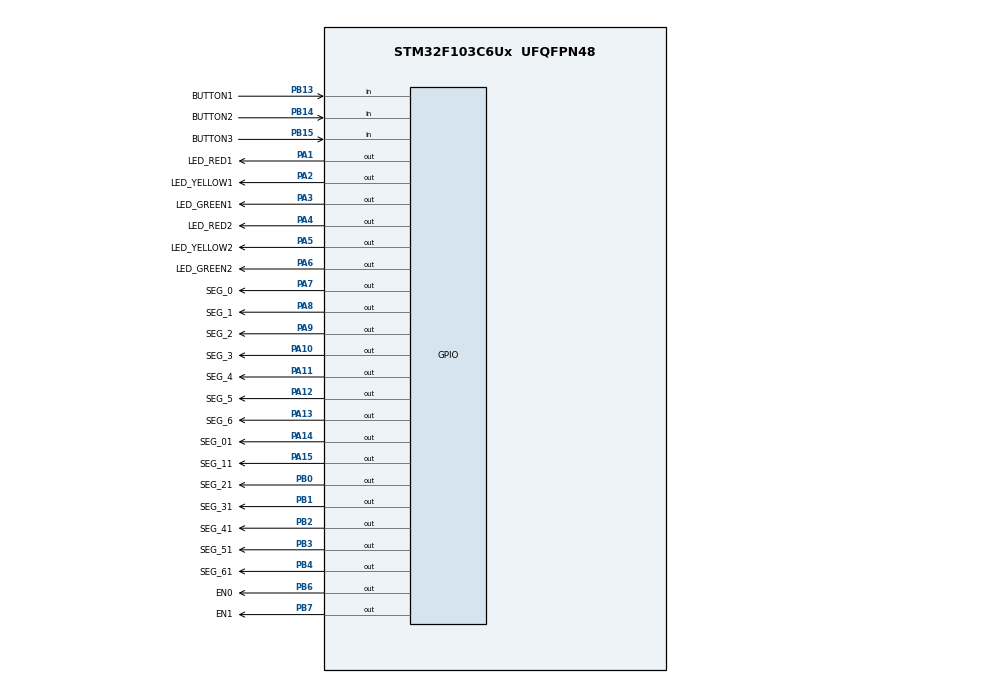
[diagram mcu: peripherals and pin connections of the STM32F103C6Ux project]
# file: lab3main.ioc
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Mcu.Family=STM32F1
Mcu.Name=STM32F103C6Ux
Mcu.Package=UFQFPN48
NVIC.PriorityGroup=NVIC_PRIORITYGROUP_4
NVIC.TIM2_IRQn=true\:0\:0\:false\:false\:true\:true\:true
PA1.GPIO_Label=LED_RED1
PA1.Signal=GPIO_Output
PA10.GPIO_Label=SEG_3
PA10.Signal=GPIO_Output
PA11.GPIO_Label=SEG_4
PA11.Signal=GPIO_Output
PA12.GPIO_Label=SEG_5
PA12.Signal=GPIO_Output
PA13.GPIO_Label=SEG_6
PA13.Signal=GPIO_Output
PA14.GPIO_Label=SEG_01
PA14.Signal=GPIO_Output
PA15.GPIO_Label=SEG_11
PA15.Signal=GPIO_Output
PA2.GPIO_Label=LED_YELLOW1
PA2.Signal=GPIO_Output
PA3.GPIO_Label=LED_GREEN1
PA3.Signal=GPIO_Output
PA4.GPIO_Label=LED_RED2
PA4.Signal=GPIO_Output
PA5.GPIO_Label=LED_YELLOW2
PA5.Signal=GPIO_Output
PA6.GPIO_Label=LED_GREEN2
PA6.Signal=GPIO_Output
PA7.GPIO_Label=SEG_0
PA7.Signal=GPIO_Output
PA8.GPIO_Label=SEG_1
PA8.Signal=GPIO_Output
PA9.GPIO_Label=SEG_2
PA9.Signal=GPIO_Output
PB0.GPIO_Label=SEG_21
PB0.Signal=GPIO_Output
PB1.GPIO_Label=SEG_31
PB1.Signal=GPIO_Output
PB13.GPIO_Label=BUTTON1
PB13.GPIO_PuPd=GPIO_PULLUP
PB13.Signal=GPIO_Input
PB14.GPIO_Label=BUTTON2
PB14.GPIO_PuPd=GPIO_PULLUP
PB14.Signal=GPIO_Input
PB15.GPIO_Label=BUTTON3
PB15.GPIO_PuPd=GPIO_PULLUP
PB15.Signal=GPIO_Input
PB2.GPIO_Label=SEG_41
PB2.Signal=GPIO_Output
PB3.GPIO_Label=SEG_51
PB3.Signal=GPIO_Output
PB4.GPIO_Label=SEG_61
PB4.Signal=GPIO_Output
PB6.GPIO_Label=EN0
PB6.Signal=GPIO_Output
PB7.GPIO_Label=EN1
PB7.Signal=GPIO_Output
ProjectManager.HeapSize=0x200
ProjectManager.StackSize=0x400
ProjectManager.TargetToolchain=STM32CubeIDE
RCC.APB1Freq_Value=8000000
RCC.APB2Freq_Value=8000000
TIM2.Period=9
TIM2.Prescaler=7999
VP_SYS_VS_ND.Mode=No_Debug
VP_TIM2_VS_ClockSourceINT.Mode=Internal
board=custom

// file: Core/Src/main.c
/* USER CODE BEGIN Header */
/**
  ******************************************************************************
  * @file           : main.c
  * @brief          : Main program body
  ******************************************************************************
  * @attention
  *
  * <h2><center>&copy; Copyright (c) 2024 STMicroelectronics.
  * All rights reserved.</center></h2>
  *
  * This software component is licensed by ST under BSD 3-Clause license,
  * the "License"; You may not use this file except in compliance with the
  * License. You may obtain a copy of the License at:
  *                        opensource.org/licenses/BSD-3-Clause
  *
  ******************************************************************************
  */
/* USER CODE END Header */
#include "main.h"

/* USER CODE BEGIN Includes */
#include "softwareTimer.h"
#include "button.h"
#include "traffic_light.h"
#include "global.h"
#include "fsm_auto.h"
#include "fsm_setting.h"
#include "display_traffic7seg.h"
#include "scheduler.h"
/* USER CODE END Includes */

TIM_HandleTypeDef htim2;

void SystemClock_Config(void);
static void MX_TIM2_Init(void);
static void MX_GPIO_Init(void);

int main(void)
{

  /* MCU Configuration--------------------------------------------------------*/

  /* Reset of all peripherals, Initializes the Flash interface and the Systick. */
  HAL_Init();

  /* Configure the system clock */
  SystemClock_Config();

  /* Initialize all configured peripherals */
  MX_TIM2_Init();
  MX_GPIO_Init();
  /* USER CODE BEGIN 2 */
  HAL_TIM_Base_Start_IT (&htim2) ;
  /* USER CODE END 2 */

  /* Infinite loop */
  /* USER CODE BEGIN WHILE */
  setTimer(3, 500); // For 7seg display
  setTimer(4, 500); // For mode 2, 3 and 4

  SCH_Init();
  SCH_Add_Task(getMode, 0, 1);
  SCH_Add_Task(fsmAuto, 1, 1);
  SCH_Add_Task(fsmSetting, 2, 1);

  while (1)
  {

   SCH_Dispatch_Task();

   //getMode();

   //fsmAuto();

   //fsmSetting();

    }
    /* USER CODE END WHILE */

}

void SystemClock_Config(void)
{
  RCC_OscInitTypeDef RCC_OscInitStruct = {0};
  RCC_ClkInitTypeDef RCC_ClkInitStruct = {0};

  /** Initializes the RCC Oscillators according to the specified parameters
  * in the RCC_OscInitTypeDef structure.
  */
  RCC_OscInitStruct.OscillatorType = RCC_OSCILLATORTYPE_HSI;
  RCC_OscInitStruct.HSIState = RCC_HSI_ON;
  RCC_OscInitStruct.HSICalibrationValue = RCC_HSICALIBRATION_DEFAULT;
  RCC_OscInitStruct.PLL.PLLState = RCC_PLL_NONE;
  if (HAL_RCC_OscConfig(&RCC_OscInitStruct) != HAL_OK)
  {
    Error_Handler();
  }
  /** Initializes the CPU, AHB and APB buses clocks
  */
  RCC_ClkInitStruct.ClockType = RCC_CLOCKTYPE_HCLK|RCC_CLOCKTYPE_SYSCLK
                              |RCC_CLOCKTYPE_PCLK1|RCC_CLOCKTYPE_PCLK2;
  RCC_ClkInitStruct.SYSCLKSource = RCC_SYSCLKSOURCE_HSI;
  RCC_ClkInitStruct.AHBCLKDivider = RCC_SYSCLK_DIV1;
  RCC_ClkInitStruct.APB1CLKDivider = RCC_HCLK_DIV1;
  RCC_ClkInitStruct.APB2CLKDivider = RCC_HCLK_DIV1;

  if (HAL_RCC_ClockConfig(&RCC_ClkInitStruct, FLASH_LATENCY_0) != HAL_OK)
  {
    Error_Handler();
  }
}

static void MX_TIM2_Init(void)
{

  TIM_ClockConfigTypeDef sClockSourceConfig = {0};
  TIM_MasterConfigTypeDef sMasterConfig = {0};

  htim2.Instance = TIM2;
  htim2.Init.Prescaler = 7999;
  htim2.Init.CounterMode = TIM_COUNTERMODE_UP;
  htim2.Init.Period = 9;
  htim2.Init.ClockDivision = TIM_CLOCKDIVISION_DIV1;
  htim2.Init.AutoReloadPreload = TIM_AUTORELOAD_PRELOAD_DISABLE;
  if (HAL_TIM_Base_Init(&htim2) != HAL_OK)
  {
    Error_Handler();
  }
  sClockSourceConfig.ClockSource = TIM_CLOCKSOURCE_INTERNAL;
  if (HAL_TIM_ConfigClockSource(&htim2, &sClockSourceConfig) != HAL_OK)
  {
    Error_Handler();
  }
  sMasterConfig.MasterOutputTrigger = TIM_TRGO_RESET;
  sMasterConfig.MasterSlaveMode = TIM_MASTERSLAVEMODE_DISABLE;
  if (HAL_TIMEx_MasterConfigSynchronization(&htim2, &sMasterConfig) != HAL_OK)
  {
    Error_Handler();
  }

}

static void MX_GPIO_Init(void)
{
  GPIO_InitTypeDef GPIO_InitStruct = {0};

  /* GPIO Ports Clock Enable */
  __HAL_RCC_GPIOA_CLK_ENABLE();
  __HAL_RCC_GPIOB_CLK_ENABLE();

  /*Configure GPIO pin Output Level */
  HAL_GPIO_WritePin(GPIOA, LED_RED1_Pin|LED_YELLOW1_Pin|LED_GREEN1_Pin|LED_RED2_Pin
                          |LED_YELLOW2_Pin|LED_GREEN2_Pin|SEG_0_Pin|SEG_1_Pin
                          |SEG_2_Pin|SEG_3_Pin|SEG_4_Pin|SEG_5_Pin
                          |SEG_6_Pin|SEG_01_Pin|SEG_11_Pin, GPIO_PIN_RESET);

  /*Configure GPIO pin Output Level */
  HAL_GPIO_WritePin(GPIOB, SEG_21_Pin|SEG_31_Pin|SEG_41_Pin|SEG_51_Pin
                          |SEG_61_Pin|EN0_Pin|EN1_Pin, GPIO_PIN_RESET);

  /*Configure GPIO pins : LED_RED1_Pin LED_YELLOW1_Pin LED_GREEN1_Pin LED_RED2_Pin
                           LED_YELLOW2_Pin LED_GREEN2_Pin SEG_0_Pin SEG_1_Pin
                           SEG_2_Pin SEG_3_Pin SEG_4_Pin SEG_5_Pin
                           SEG_6_Pin SEG_01_Pin SEG_11_Pin */
  GPIO_InitStruct.Pin = LED_RED1_Pin|LED_YELLOW1_Pin|LED_GREEN1_Pin|LED_RED2_Pin
                          |LED_YELLOW2_Pin|LED_GREEN2_Pin|SEG_0_Pin|SEG_1_Pin
                          |SEG_2_Pin|SEG_3_Pin|SEG_4_Pin|SEG_5_Pin
                          |SEG_6_Pin|SEG_01_Pin|SEG_11_Pin;
  GPIO_InitStruct.Mode = GPIO_MODE_OUTPUT_PP;
  GPIO_InitStruct.Pull = GPIO_NOPULL;
  GPIO_InitStruct.Speed = GPIO_SPEED_FREQ_LOW;
  HAL_GPIO_Init(GPIOA, &GPIO_InitStruct);

  /*Configure GPIO pins : SEG_21_Pin SEG_31_Pin SEG_41_Pin SEG_51_Pin
                           SEG_61_Pin EN0_Pin EN1_Pin */
  GPIO_InitStruct.Pin = SEG_21_Pin|SEG_31_Pin|SEG_41_Pin|SEG_51_Pin
                          |SEG_61_Pin|EN0_Pin|EN1_Pin;
  GPIO_InitStruct.Mode = GPIO_MODE_OUTPUT_PP;
  GPIO_InitStruct.Pull = GPIO_NOPULL;
  GPIO_InitStruct.Speed = GPIO_SPEED_FREQ_LOW;
  HAL_GPIO_Init(GPIOB, &GPIO_InitStruct);

  /*Configure GPIO pins : BUTTON1_Pin BUTTON2_Pin BUTTON3_Pin */
  GPIO_InitStruct.Pin = BUTTON1_Pin|BUTTON2_Pin|BUTTON3_Pin;
  GPIO_InitStruct.Mode = GPIO_MODE_INPUT;
  GPIO_InitStruct.Pull = GPIO_PULLUP;
  HAL_GPIO_Init(GPIOB, &GPIO_InitStruct);

}

/* USER CODE BEGIN 4 */

void HAL_TIM_PeriodElapsedCallback (TIM_HandleTypeDef *htim) {
	SCH_Update();
	timer_run();
	getKeyInput();
}

/* USER CODE END 4 */

void Error_Handler(void)
{
  __disable_irq();
  while (1)
  {
  }
}

/************************ (C) COPYRIGHT STMicroelectronics *****END OF FILE****/
